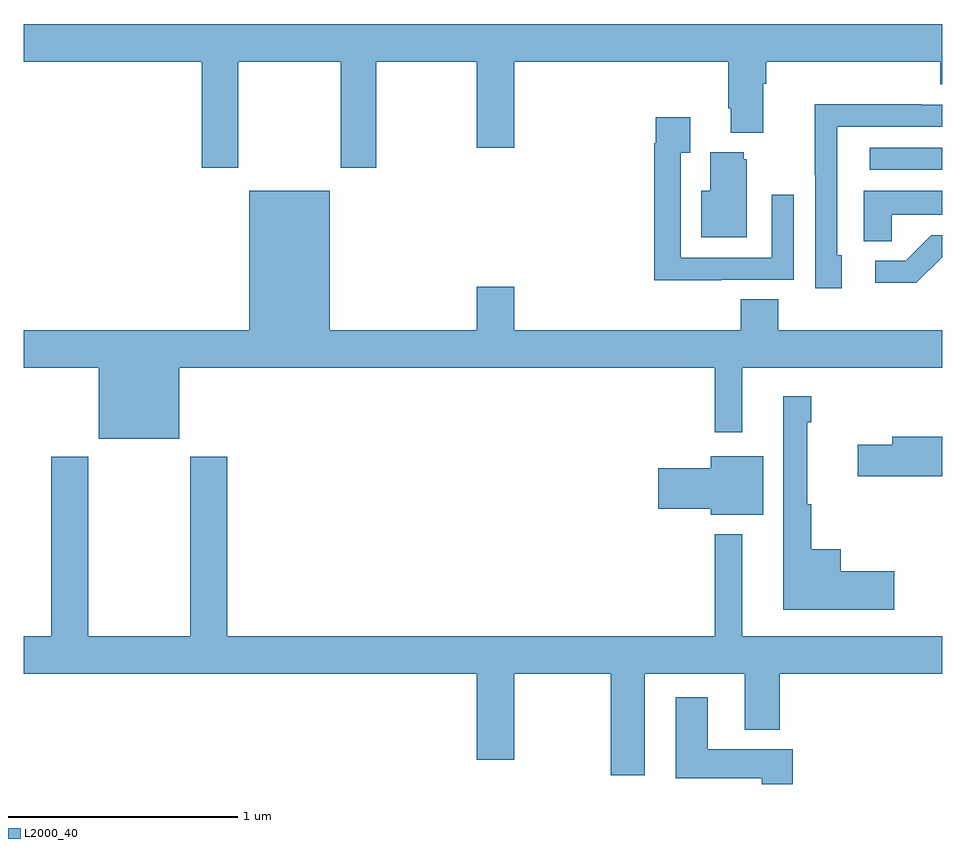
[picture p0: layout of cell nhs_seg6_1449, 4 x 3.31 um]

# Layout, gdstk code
import gdstk
lib = gdstk.Library(unit=1e-6, precision=1e-09)
def R(c, l, rs):  # rectangles x0, y0, x1, y1
    for r in rs: c.add(gdstk.rectangle(r[:2], r[2:], *l))
def P(c, l, *ps):  # polygons
    for p in ps: c.add(gdstk.Polygon(p, *l))
L2000_40 = (2000, 40)

nhs_seg6_1449 = lib.new_cell('nhs_seg6_1449')
R(nhs_seg6_1449, L2000_40, [(202.683,972.174,203,972.27)])
P(nhs_seg6_1449, L2000_40, [(199.935,972.644),(200.38,972.644),(200.38,972.183),(200.535,972.183),(200.535,972.644),(200.972,972.644),(200.972,972.27),(201.136,972.27),(201.136,972.644),(202.067,972.644),(202.067,972.442),(202.079,972.442),(202.079,972.335),(202.219,972.335),(202.219,972.548),(202.232,972.548),(202.232,972.644),(202.991,972.644),(202.991,972.545),(203,972.545),(203,972.808),(199,972.808),(199,972.644),(199.775,972.644),(199.775,972.183),(199.935,972.183)],
  [(202.561,971.802),(202.542,971.802),(202.542,972.36),(203,972.36),(203,972.456),(202.907,972.456),(202.907,972.458),(202.444,972.458),(202.444,972.151),(202.446,972.151),(202.446,971.658),(202.561,971.658)],
  [(202.037,971.694),(202.353,971.694),(202.353,972.064),(202.257,972.064),(202.257,971.79),(201.861,971.79),(201.861,972.247),(201.901,972.247),(201.901,972.403),(201.753,972.403),(201.753,972.29),(201.745,972.29),(201.745,971.693),(202.037,971.693)],
  [(202.147,972.219),(202.136,972.219),(202.136,972.25),(201.989,972.25),(201.989,972.082),(201.95,972.082),(201.95,971.879),(202.147,971.879)],
  [(202.779,971.978),(203,971.978),(203,972.082),(202.658,972.082),(202.658,971.863),(202.779,971.863)],
  [(202.129,971.312),(203,971.312),(203,971.476),(202.286,971.476),(202.286,971.609),(202.121,971.609),(202.121,971.476),(201.136,971.476),(201.136,971.665),(200.972,971.665),(200.972,971.476),(200.332,971.476),(200.332,972.082),(199.982,972.082),(199.982,971.476),(199,971.476),(199,971.312),(199.328,971.312),(199.328,971.003),(199.678,971.003),(199.678,971.312),(202.008,971.312),(202.008,971.031),(202.129,971.031)],
  [(202.998,971.793),(203,971.793),(203,971.889),(202.952,971.889),(202.841,971.778),(202.707,971.778),(202.707,971.681),(202.885,971.681)],
  [(202.789,970.425),(202.558,970.425),(202.558,970.522),(202.429,970.522),(202.429,970.718),(202.411,970.718),(202.411,971.075),(202.429,971.075),(202.429,971.188),(202.307,971.188),(202.307,970.259),(202.789,970.259)],
  [(203,971.011),(202.781,971.011),(202.781,970.977),(202.632,970.977),(202.632,970.84),(203,970.84)],
  [(202.219,970.927),(201.992,970.927),(201.992,970.875),(201.762,970.875),(201.762,970.697),(201.992,970.697),(201.992,970.673),(202.219,970.673)],
  [(201.703,969.98),(202.139,969.98),(202.139,969.737),(202.292,969.737),(202.292,969.98),(203,969.98),(203,970.144),(202.129,970.144),(202.129,970.588),(202.008,970.588),(202.008,970.144),(199.886,970.144),(199.886,970.924),(199.726,970.924),(199.726,970.144),(199.281,970.144),(199.281,970.924),(199.121,970.924),(199.121,970.144),(199,970.144),(199,969.98),(200.972,969.98),(200.972,969.606),(201.136,969.606),(201.136,969.98),(201.556,969.98),(201.556,969.539),(201.703,969.539)],
  [(202.349,969.652),(201.979,969.652),(201.979,969.877),(201.839,969.877),(201.839,969.524),(202.214,969.524),(202.214,969.5),(202.349,969.5)])

lib.write_gds('nhs_seg6_1449.gds')
